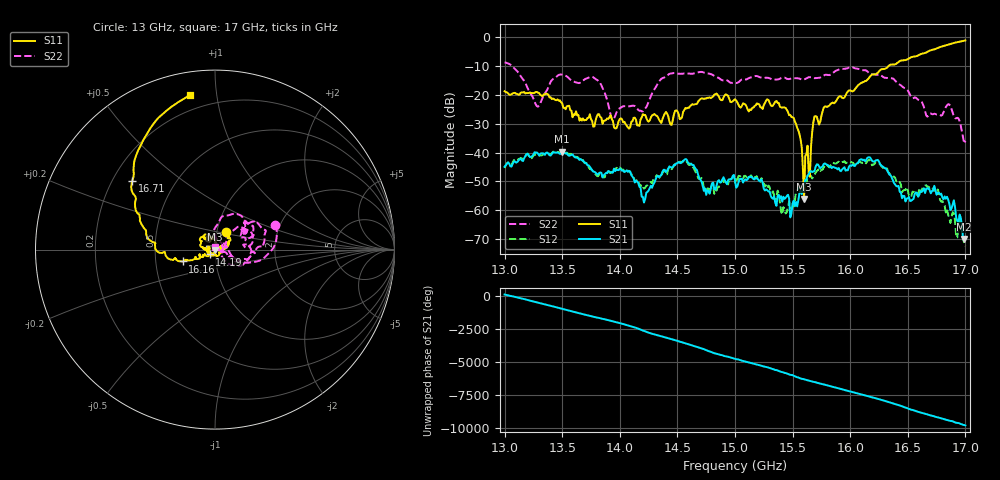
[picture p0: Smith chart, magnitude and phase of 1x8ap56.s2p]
!Keysight Technologies,P9374A,MY57211807,A.19.30.04
!Date: Friday, May 08, 2026 15:00:45
!Correction: S11(C  2-Port  )
!S21(C  2-Port  )
!S12(C  2-Port  )
!S22(C  2-Port  )
!S2P File: Measurements: S11, S21, S12, S22:
# Hz S  dB  R 50
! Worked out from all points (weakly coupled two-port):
!   401 points, 13 GHz to 17 GHz, reference 50 ohm
!   highest |S21| = -39.75 dB at 13.5 GHz (marker M1); lowest = -69.9 dB at 16.99 GHz (marker M2)
!   lowest |S11| = -56.1 dB at 15.6 GHz (marker M3), VSWR 1.00, Z = 49.9 - j0.073 ohm
!   |S11| at or under -10 dB: start of sweep to 16.33 GHz
!   |S22| runs from -36.9 to -8.8 dB; largest |S21 - S12| = 0.0019
!   S11 on the Smith chart (normalised r, x): 13 GHz: 1.10, +0.22; 14.19 GHz: 0.94, -0.05; 16.16 GHz: 0.69, -0.09; 16.71 GHz: 0.28, +0.33; 17 GHz: 0.12, +0.85
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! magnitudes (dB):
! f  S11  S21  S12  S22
! 13 GHz  -18.8  -44.9  -45.4  -8.8
! 13.29 GHz  -19.2  -40.4  -40.9  -24.1
! 13.5 GHz  -23.0  -39.7  -39.7  -13.0
! 13.67 GHz  -28.9  -42.7  -42.8  -15.5
! 13.82 GHz  -26.7  -47.1  -47.7  -15.4
! 13.94 GHz  -29.1  -46.9  -46.8  -28.7
! 14.19 GHz  -27.9  -55.3  -52.5  -25.8
! 14.34 GHz  -28.6  -48.5  -48.3  -15.5
! 14.56 GHz  -25.3  -42.6  -42.7  -12.6
! 14.76 GHz  -21.0  -53.0  -52.4  -12.7
! 15 GHz  -21.5  -49.7  -50.4  -15.9
! 15.44 GHz  -24.6  -55.7  -61.1  -14.2
! 15.6 GHz  -56.1  -51.1  -51.2  -14.7
! 15.67 GHz  -33.0  -46.8  -49.0  -14.0
! 15.78 GHz  -24.1  -43.8  -44.4  -13.1
! 16.16 GHz  -14.4  -41.6  -42.6  -12.3
! 16.34 GHz  -9.8  -47.7  -47.2  -14.3
! 16.47 GHz  -8.0  -55.0  -52.9  -17.7
! 16.71 GHz  -4.4  -53.3  -52.8  -26.7
! 16.86 GHz  -2.5  -57.6  -62.7  -23.4
! 16.99 GHz  -1.3  -69.9  -71.2  -36.9
! 17 GHz  -1.2  -69.5  -72.4  -36.0
